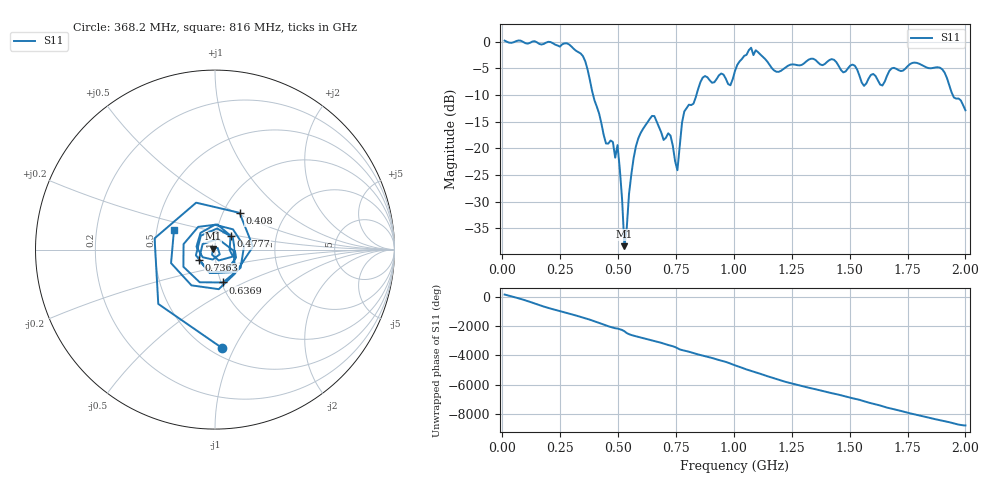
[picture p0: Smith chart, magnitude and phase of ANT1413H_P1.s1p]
!Created with skrf (http://scikit-rf.org).
# Hz S RI R 50.0
!freq ReS11 ImS11
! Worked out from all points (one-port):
!   201 points, 10 MHz to 2 GHz, reference 50 ohm
!   lowest |S11| = -38.4 dB at 527.4 MHz (marker M1), VSWR 1.02, Z = 48.9 + j0.478 ohm
!   |S11| at or under -10 dB: 392.2 MHz to 838.4 MHz (446.3 MHz wide, 72.5 % of centre); 1.945 GHz to end of sweep
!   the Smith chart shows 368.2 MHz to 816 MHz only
!   S11 on the Smith chart (normalised r, x): 368.2 MHz: 0.57, -0.89; 408 MHz: 1.19, +0.52; 477.6 MHz: 1.17, +0.18; 636.9 MHz: 1.02, -0.39; 736.4 MHz: 0.83, -0.09; 816 MHz: 0.61, +0.15
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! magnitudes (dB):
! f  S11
! 10 MHz  0.2
! 258.8 MHz  -0.5
! 368.2 MHz  -5.2
! 408 MHz  -12.2
! 447.8 MHz  -19.1
! 477.6 MHz  -18.8
! 487.6 MHz  -21.8
! 497.6 MHz  -19.4
! 507.5 MHz  -23.9
! 527.4 MHz  -38.4
! 547.3 MHz  -28.6
! 577.1 MHz  -19.6
! 636.9 MHz  -14.5
! 736.4 MHz  -19.5
! 756.2 MHz  -24.1
! 786.1 MHz  -13.1
! 816 MHz  -11.9
! 865.7 MHz  -6.7
! 985.1 MHz  -8.2
! 1.005 GHz  -5.5
! 1.075 GHz  -1.1
! 1.184 GHz  -5.6
! 1.254 GHz  -4.3
! 1.502 GHz  -4.5
! 1.562 GHz  -8.3
! 1.751 GHz  -4.6
! 1.901 GHz  -5.2
! 2 GHz  -12.9
